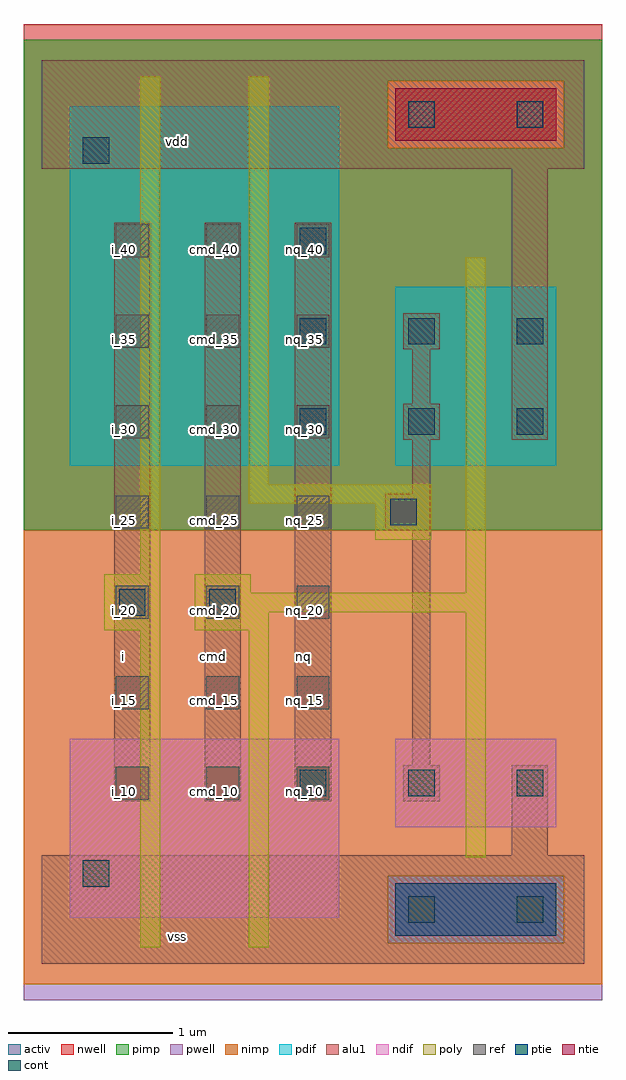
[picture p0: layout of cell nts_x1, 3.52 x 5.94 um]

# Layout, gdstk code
import gdstk
lib = gdstk.Library(unit=1e-6, precision=2.5e-09)
def R(c, l, rs):  # rectangles x0, y0, x1, y1
    for r in rs: c.add(gdstk.rectangle(r[:2], r[2:], *l))
def A(c, l, x, y, w, h, nx, ny, dx, dy):  # array of equal rectangles
    R(c, l, [(x+i*dx, y+j*dy, x+i*dx+w, y+j*dy+h) for i in range(nx) for j in range(ny)])
ndif = (3, 0)
pdif = (4, 0)
ntie = (5, 0)
ptie = (6, 0)
ref = (24, 0)
cont = (25, 0)
pwell = (41, 0)
nwell = (42, 0)
activ = (43, 0)
pimp = (44, 0)
nimp = (45, 0)
poly = (46, 0)
alu1 = (49, 0)

nts_x1 = lib.new_cell('nts_x1')
R(nts_x1, ndif, [(0.17,0.28,1.81,1.37), (0.17,0.28,1.81,1.37), (2.15,0.83,3.13,1.37), (2.15,0.83,3.13,1.37)])
R(nts_x1, pdif, [(0.17,3.03,1.81,5.22), (0.17,3.03,1.81,5.22), (2.15,3.03,3.13,4.12), (2.15,3.03,3.13,4.12)])
R(nts_x1, ntie, [(2.15,5.01,3.13,5.33), (2.15,5.01,3.13,5.33)])
R(nts_x1, ptie, [(2.15,0.17,3.13,0.49), (2.15,0.17,3.13,0.49)])
A(nts_x1, ref, 0.45, 1, 0.2, 0.2, 3, 7, 0.55, 0.55)
A(nts_x1, cont, 1.57, 1.02, 0.16, 0.16, 3, 2, 0.66, 2.2)
A(nts_x1, cont, 1.57, 3.77, 0.16, 0.16, 3, 1, 0.66, 0)
R(nts_x1, cont, [(2.23,0.25,2.39,0.41), (2.89,0.25,3.05,0.41), (0.25,0.47,0.41,0.63), (0.47,2.12,0.63,2.28), (1.02,2.12,1.18,2.28), (2.12,2.67,2.28,2.83), (1.57,4.32,1.73,4.48), (0.25,4.87,0.41,5.03), (2.23,5.09,2.39,5.25), (2.89,5.09,3.05,5.25)])
R(nts_x1, pwell, [(-0.11,-0.22,3.41,2.64)])
R(nts_x1, nwell, [(-0.11,2.64,3.41,5.72)])
R(nts_x1, activ, [(2.15,0.17,3.13,0.49), (2.15,0.17,3.13,0.49), (0.17,0.28,1.81,1.37), (0.17,0.28,1.81,1.37), (2.15,0.83,3.13,1.37), (2.15,0.83,3.13,1.37), (0.17,3.03,1.81,5.22), (0.17,3.03,1.81,5.22), (2.15,3.03,3.13,4.12), (2.15,3.03,3.13,4.12), (2.15,5.01,3.13,5.33), (2.15,5.01,3.13,5.33)])
R(nts_x1, pimp, [(2.105,0.125,3.175,0.535), (-0.11,2.64,3.41,4.965), (-0.11,4.965,2.105,5.375), (3.175,4.965,3.41,5.375), (-0.11,5.375,3.41,5.625)])
R(nts_x1, nimp, [(-0.11,-0.125,3.41,0.125), (-0.11,0.125,2.105,0.535), (3.175,0.125,3.41,0.535), (-0.11,0.535,3.41,2.64), (2.105,4.965,3.175,5.375)])
R(nts_x1, poly, [(0.6,0.1,0.72,2.03), (1.26,0.1,1.38,2.03), (2.58,0.65,2.7,2.14), (0.38,2.03,0.72,2.37), (0.93,2.03,1.38,2.14), (0.93,2.14,2.7,2.26), (0.93,2.26,1.27,2.37), (2.58,2.26,2.7,4.3), (0.6,2.37,0.72,5.4), (2.03,2.58,2.37,2.8), (1.26,2.8,2.37,2.92), (1.26,2.92,1.38,5.4)])
A(nts_x1, alu1, 0.44, 0.99, 0.22, 3.52, 3, 1, 0.55, 0)
R(nts_x1, alu1, [(0,0,3.3,0.66), (2.86,0.66,3.08,1.21), (2.2,0.99,2.42,1.21), (2.255,1.21,2.365,2.64), (2.09,2.64,2.365,2.86), (2.255,2.86,2.365,3.19), (2.2,3.19,2.42,3.41), (2.86,3.19,3.08,4.84), (2.255,3.41,2.365,3.74), (2.2,3.74,2.42,3.96), (0,4.84,3.3,5.5)])
nts_x1.add(gdstk.Label('vss', (0.825,0.165), layer=49, texttype=0))
nts_x1.add(gdstk.Label('nq', (1.595,1.87), layer=49, texttype=0))
nts_x1.add(gdstk.Label('cmd', (1.045,1.87), layer=49, texttype=0))
nts_x1.add(gdstk.Label('i', (0.495,1.87), layer=49, texttype=0))
nts_x1.add(gdstk.Label('vdd', (0.825,5.005), layer=49, texttype=0))
nts_x1.add(gdstk.Label('cmd_40', (1.05,4.35), layer=24, texttype=0))
nts_x1.add(gdstk.Label('cmd_35', (1.05,3.8), layer=24, texttype=0))
nts_x1.add(gdstk.Label('cmd_30', (1.05,3.25), layer=24, texttype=0))
nts_x1.add(gdstk.Label('cmd_25', (1.05,2.7), layer=24, texttype=0))
nts_x1.add(gdstk.Label('i_40', (0.5,4.35), layer=24, texttype=0))
nts_x1.add(gdstk.Label('nq_25', (1.6,2.7), layer=24, texttype=0))
nts_x1.add(gdstk.Label('i_25', (0.5,2.7), layer=24, texttype=0))
nts_x1.add(gdstk.Label('i_20', (0.5,2.15), layer=24, texttype=0))
nts_x1.add(gdstk.Label('i_15', (0.5,1.6), layer=24, texttype=0))
nts_x1.add(gdstk.Label('i_10', (0.5,1.05), layer=24, texttype=0))
nts_x1.add(gdstk.Label('cmd_20', (1.05,2.15), layer=24, texttype=0))
nts_x1.add(gdstk.Label('cmd_15', (1.05,1.6), layer=24, texttype=0))
nts_x1.add(gdstk.Label('cmd_10', (1.05,1.05), layer=24, texttype=0))
nts_x1.add(gdstk.Label('nq_10', (1.6,1.05), layer=24, texttype=0))
nts_x1.add(gdstk.Label('nq_40', (1.6,4.35), layer=24, texttype=0))
nts_x1.add(gdstk.Label('nq_35', (1.6,3.8), layer=24, texttype=0))
nts_x1.add(gdstk.Label('nq_30', (1.6,3.25), layer=24, texttype=0))
nts_x1.add(gdstk.Label('nq_20', (1.6,2.15), layer=24, texttype=0))
nts_x1.add(gdstk.Label('nq_15', (1.6,1.6), layer=24, texttype=0))
nts_x1.add(gdstk.Label('i_35', (0.5,3.8), layer=24, texttype=0))
nts_x1.add(gdstk.Label('i_30', (0.5,3.25), layer=24, texttype=0))

lib.write_gds('nts_x1.gds')
